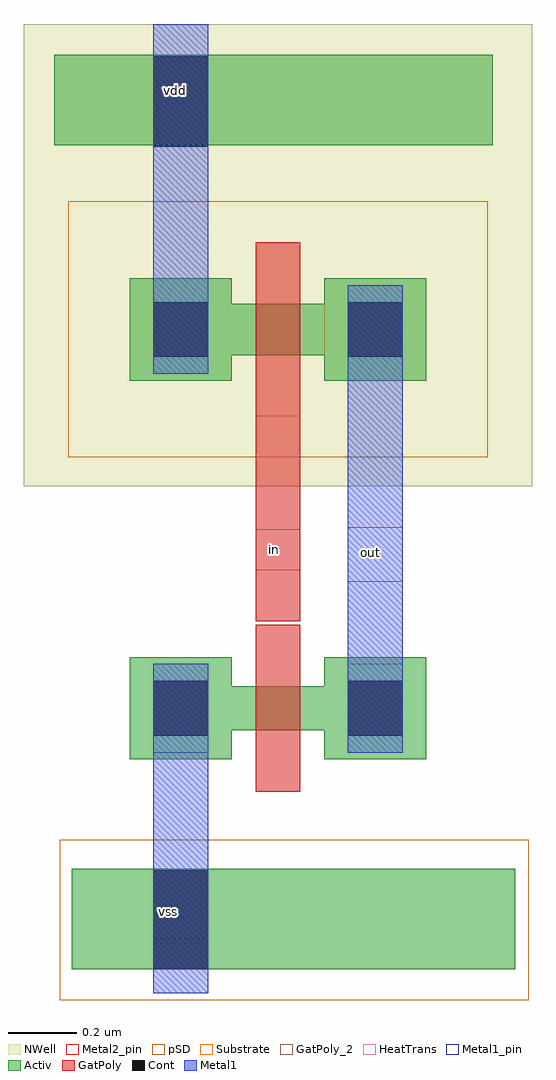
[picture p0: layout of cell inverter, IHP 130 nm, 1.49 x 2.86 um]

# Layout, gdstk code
import gdstk
lib = gdstk.Library(unit=1e-6, precision=5e-09)
def R(c, l, rs):  # rectangles x0, y0, x1, y1
    for r in rs: c.add(gdstk.rectangle(r[:2], r[2:], *l))
Activ = (1, 0)
GatPoly = (5, 0)
GatPoly_2 = (5, 2)
Cont = (6, 0)
Metal1 = (8, 0)
Metal1_pin = (8, 2)
Metal2_pin = (10, 2)
pSD = (14, 0)
NWell = (31, 0)
Substrate = (40, 0)
HeatTrans = (51, 0)

pmos = lib.new_cell('pmos')
R(pmos, Activ, [(0,0,0.3,0.3), (0.57,0,0.87,0.3), (0,0.075,0.87,0.225)])
R(pmos, GatPoly, [(0.37,-0.105,0.5,0.405), (0.37,-0.105,0.5,0.405)])
R(pmos, Cont, [(0.07,0.07,0.23,0.23), (0.64,0.07,0.8,0.23)])
R(pmos, Metal1, [(0.07,0.02,0.23,0.28), (0.07,0.02,0.23,0.28), (0.64,0.02,0.8,0.28), (0.64,0.02,0.8,0.28)])
R(pmos, pSD, [(-0.18,-0.225,1.05,0.525)])
R(pmos, NWell, [(-0.31,-0.31,1.18,0.61)])
R(pmos, Substrate, [(0.57,0,0.87,0.3)])
R(pmos, HeatTrans, [(0.37,-0.105,0.5,0.405)])
pmos.add(gdstk.Label('pmos', (0.435,0.15), layer=63, texttype=0))
pmos.add(gdstk.Label('pmos', (0.435,0.15), layer=51, texttype=0))

nmos = lib.new_cell('nmos')
R(nmos, Activ, [(0,0,0.3,0.3), (0.57,0,0.87,0.3), (0,0.085,0.87,0.215)])
R(nmos, GatPoly, [(0.37,-0.095,0.5,0.395)])
R(nmos, GatPoly_2, [(0.37,-0.095,0.5,0.395)])
R(nmos, Cont, [(0.07,0.07,0.23,0.23), (0.64,0.07,0.8,0.23)])
R(nmos, Metal1, [(0.07,0.02,0.23,0.28), (0.64,0.02,0.8,0.28)])
R(nmos, Metal1_pin, [(0.07,0.02,0.23,0.28), (0.64,0.02,0.8,0.28)])
R(nmos, HeatTrans, [(0.37,-0.095,0.5,0.395)])
nmos.add(gdstk.Label('nmos', (0.435,0.15), layer=63, texttype=0))
nmos.add(gdstk.Label('nmos', (0.435,0.15), layer=51, texttype=0))

inverter = lib.new_cell('inverter')
R(inverter, Activ, [(-0.015,-0.815,1.285,-0.52), (-0.065,1.6,1.22,1.865)])
R(inverter, GatPoly, [(0.525,0.205,0.655,0.805)])
R(inverter, GatPoly_2, [(0.525,0.355,0.655,0.475)])
R(inverter, Cont, [(0.225,-0.815,0.385,-0.525), (0.225,1.595,0.385,1.86)])
R(inverter, Metal1, [(0.225,-0.885,0.385,0.08), (0.795,-0.18,0.955,1.19), (0.225,0.93,0.385,1.955)])
R(inverter, Metal1_pin, [(0.225,-0.725,0.385,-0.52), (0.225,1.595,0.385,1.865)])
R(inverter, Metal2_pin, [(0.795,0.32,0.955,0.48)])
R(inverter, pSD, [(-0.05,-0.905,1.325,-0.435)])
R(inverter, NWell, [(-0.155,1.52,1.335,1.955)])
inverter.add(gdstk.Reference(pmos, (0.155,0.91)))
inverter.add(gdstk.Reference(nmos, (0.155,-0.2)))
inverter.add(gdstk.Label('vdd', (0.29,1.76), layer=8, texttype=2))
inverter.add(gdstk.Label('vss', (0.27,-0.645), layer=8, texttype=2))
inverter.add(gdstk.Label('in', (0.58,0.415), layer=5, texttype=2))
inverter.add(gdstk.Label('out', (0.86,0.405), layer=10, texttype=2))

lib.write_gds('inverter.gds')
